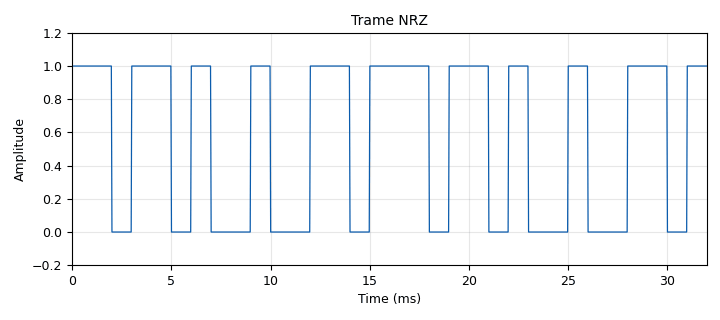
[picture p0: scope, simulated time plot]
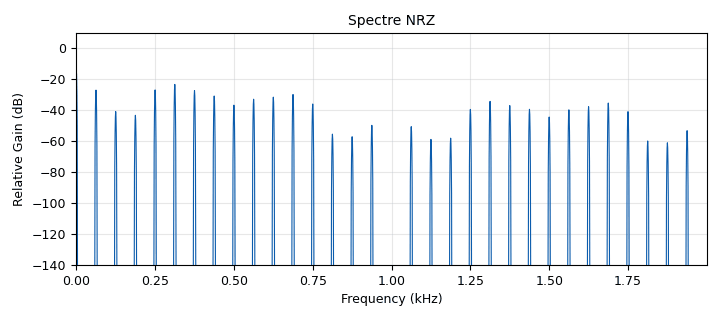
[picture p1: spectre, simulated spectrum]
options:
  parameters:
    author: Groupe 2 - SAE 5.01 NFC
    description: IV - Generateur pseudo-aleatoire NRZ (1 kbit/s)
    generate_options: qt_gui
    id: NRZ_signal
    output_language: python
    title: NRZ
  states: {}

blocks:
- name: N
  id: variable
  parameters:
    comment: Echantillons par bit
    value: int(samp_rate/clock)
  states: {}
- name: N_decimation
  id: variable
  parameters:
    comment: fobs = samp_rate/(2*N_decimation)
    value: '8'
  states: {}
- name: Nb
  id: variable_qtgui_range
  parameters:
    comment: Nombre de bits aleatoires
    rangeType: int
    start: '8'
    step: '2'
    stop: '256'
    value: '16'
  states: {}
- name: SOF_tag
  id: variable_tag_object
  parameters:
    comment: Tag debut de trame
    key: pmt.intern("SOF")
    offset: '0'
    src: pmt.intern("vecsrc")
    value: pmt.from_long(0)
  states: {}
- name: clock
  id: variable
  parameters:
    comment: Horloge bits (Hz)
    value: '1000'
  states: {}
- name: samp_rate
  id: variable
  parameters:
    value: '32000'
  states: {}
- name: decim
  id: fir_filter_xxx
  parameters:
    comment: Reduit la bande observee
    decim: N_decimation
    taps: '[1]'
    type: fff
  states: {}
- name: imp_np
  id: import
  parameters:
    imports: import numpy as np
  states: {}
- name: imp_pmt
  id: import
  parameters:
    imports: import pmt
  states: {}
- name: repeat
  id: blocks_repeat
  parameters:
    comment: 1 bit = N echantillons
    interp: N
    type: float
  states: {}
- name: scope
  id: qtgui_time_sink_x
  parameters:
    grid: 'True'
    name: '"Trame NRZ"'
    size: '1024'
    srate: samp_rate
    tr_mode: qtgui.TRIG_MODE_TAG
    tr_tag: '"SOF"'
    type: float
    ymax: '1.2'
    ymin: '-0.2'
  states: {}
- name: spectre
  id: qtgui_freq_sink_x
  parameters:
    bw: samp_rate/N_decimation
    fc: '0'
    fftsize: '4096'
    freqhalf: 'False'
    grid: 'True'
    name: '"Spectre NRZ"'
    type: float
  states: {}
- name: throttle
  id: blocks_throttle2
  parameters:
    samples_per_second: samp_rate
    type: float
  states: {}
- name: vecsrc
  id: blocks_vector_source_x
  parameters:
    comment: Trame NRZ
    repeat: 'True'
    tags: '[SOF_tag]'
    type: float
    vector: np.random.randint(0,2,Nb).tolist()
  states: {}

connections:
- [decim, '0', spectre, '0']
- [repeat, '0', throttle, '0']
- [throttle, '0', decim, '0']
- [throttle, '0', scope, '0']
- [vecsrc, '0', repeat, '0']

metadata:
  file_format: 1
  grc_version: 3.10.12.0
